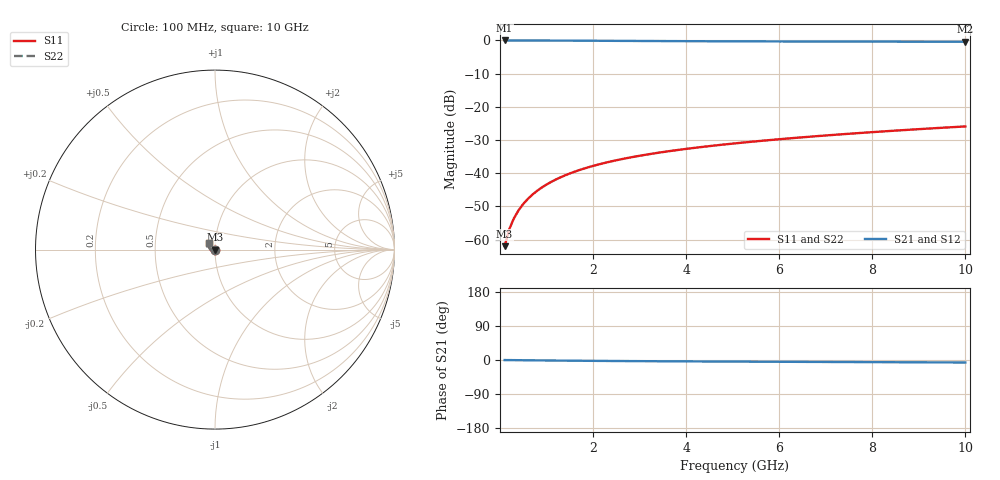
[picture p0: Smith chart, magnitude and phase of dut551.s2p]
! Touchstone file exported from HFSS 2024.1.0
!  File:  C:/UserFiles/LocalFiles/RDL_TSV_Batchsim/temp_TSV1_551_1779706263.aedt
!  Generated:  06:57:41 PM May 25, 2026
!  Design:  TSV1
!  Project:  temp_TSV1_551_1779706263
!  Setup:  Setup1
!  Solution:  Sweep
! Variables:
!  dtsv = 6.19um
!  hbump = 3um
!  htsv = 96.78um
!  lrdl = 252.1521522um
!  p = 40
!  p1 = 59.57um
!  t = 500um
!  trdl = 3um
!  wrdl = 24.89489489um
# GHz S MA R 50.000000
! Terminal data exported
! Port[1] = TSV22_T1
! Port[2] = TSV22_T2
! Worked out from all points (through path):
!   100 points, 100 MHz to 10 GHz, reference 50 ohm
!   highest |S21| = 0.00 dB at 100 MHz (marker M1); lowest = -0.4 dB at 10 GHz (marker M2)
!   lowest |S11| = -62.0 dB at 100 MHz (marker M3), VSWR 1.00, Z = 50 - j0.0693 ohm
!   |S11| at or under -10 dB: start of sweep to end of sweep
!   |S22| runs from -62.0 to -25.9 dB; largest |S21 - S12| = 4e-15
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0.1  0.0007938 -60.8  0.9995 -0.1  0.9995 -0.1  0.0007938 -60.8
! Gamma 0 0 0 0
! Port Impedance 50 0 50 0
0.2  0.001427 -78.1  0.9994 -0.3  0.9994 -0.3  0.001427 -78.1
0.3  0.00209 -86.2  0.9993 -0.4  0.9993 -0.4  0.00209 -86.2
0.4  0.00276 -91.7  0.999 -0.5  0.999 -0.5  0.00276 -91.7
0.5  0.003431 -96.0  0.9988 -0.6  0.9988 -0.6  0.003431 -96.0
0.6  0.0041 -99.7  0.9984 -0.8  0.9984 -0.8  0.0041 -99.7
0.7  0.004766 -103.1  0.998 -0.9  0.998 -0.9  0.004766 -103.1
0.8  0.005428 -106.2  0.9976 -1.0  0.9976 -1.0  0.005428 -106.2
0.9  0.006084 -109.2  0.9971 -1.1  0.9971 -1.1  0.006084 -109.2
1.1  0.007379 -114.9  0.996 -1.3  0.996 -1.3  0.007379 -114.9
1.4  0.009271 -122.8  0.994 -1.7  0.994 -1.7  0.009271 -122.8
1.6  0.0105 -127.7  0.9926 -1.9  0.9926 -1.9  0.0105 -127.7
1.8  0.01169 -132.5  0.9911 -2.1  0.9911 -2.1  0.01169 -132.5
2.1  0.01343 -139.3  0.9888 -2.3  0.9888 -2.3  0.01343 -139.2
2.5  0.01564 -147.6  0.9856 -2.7  0.9856 -2.7  0.01564 -147.6
2.9  0.01776 -155.3  0.9826 -3.0  0.9826 -3.0  0.01776 -155.3
3.4  0.02029 -164.1  0.979 -3.3  0.979 -3.3  0.02029 -164.1
4.2  0.02416 -176.3  0.9739 -3.8  0.9739 -3.8  0.02416 -176.3
5.1  0.02834 172.3  0.9694 -4.2  0.9694 -4.2  0.02834 172.3
6.7  0.03561 156.5  0.9634 -5.0  0.9634 -5.0  0.03561 156.5
8.4  0.04332 144.2  0.9591 -5.8  0.9591 -5.8  0.04331 144.2
10  0.0506 135.3  0.9563 -6.6  0.9563 -6.6  0.0506 135.3
